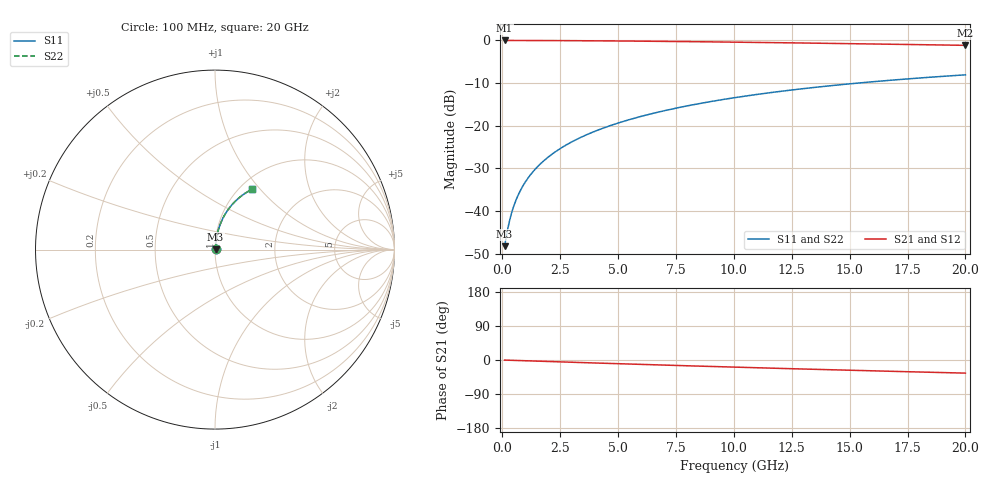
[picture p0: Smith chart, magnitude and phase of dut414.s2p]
! Touchstone file exported from HFSS 2024.1.0
!  File:  C:/UserFiles/LocalFiles/RDL_TSV_Batchsim/temp_RDL_bottom_414_1779683494.aedt
!  Generated:  12:34:18 PM May 25, 2026
!  Design:  RDL_bottom
!  Project:  temp_RDL_bottom_414_1779683494
!  Setup:  Setup1
!  Solution:  Sweep
! Variables:
!  dtsv = 10.80580581um
!  hbump = 3um
!  htsv = 89.86um
!  ldown = 435.25um
!  lrdl = 100um
!  p = 40
!  p1 = 48.55um
!  rhole = 1um
!  t = 450um
!  tdown = 3.67um
!  trdl = 3.915915916um
!  wdown = 13.83um
!  wrdl = 20um
# GHz S MA R 50.000000
! Terminal data exported
! Port[1] = RDL1_T1
! Port[2] = RDL1_T2
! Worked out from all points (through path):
!   200 points, 100 MHz to 20 GHz, reference 50 ohm
!   highest |S21| = -0.03 dB at 100 MHz (marker M1); lowest = -1.2 dB at 20 GHz (marker M2)
!   group delay of S21, straight-line fit = 4.8 ps
!   lowest |S11| = -48.2 dB at 100 MHz (marker M3), VSWR 1.01, Z = 50.3 + j0.226 ohm
!   |S11| at or under -10 dB: start of sweep to 15.39 GHz
!   |S22| runs from -48.2 to -8.1 dB; largest |S21 - S12| = 3.6e-15
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0.1  0.003869 35.4  0.9968 -0.2  0.9968 -0.2  0.003869 35.4
! Gamma 0 0 0 0
! Port Impedance 50 0 50 0
0.2  0.005505 54.2  0.9968 -0.4  0.9968 -0.4  0.005505 54.2
0.3  0.007436 63.5  0.9967 -0.6  0.9967 -0.6  0.007436 63.5
0.4  0.009461 68.8  0.9966 -0.8  0.9966 -0.8  0.009461 68.8
0.5  0.01152 72.1  0.9965 -1.0  0.9965 -1.0  0.01152 72.1
0.6  0.01359 74.4  0.9963 -1.2  0.9963 -1.2  0.01359 74.4
0.8  0.01777 77.4  0.9961 -1.6  0.9961 -1.6  0.01777 77.4
1.1  0.02408 79.8  0.9957 -2.2  0.9957 -2.2  0.02408 79.8
1.5  0.03256 81.4  0.9951 -3.0  0.9951 -3.0  0.03256 81.4
1.8  0.03894 82.0  0.9945 -3.6  0.9945 -3.6  0.03894 82.0
2.1  0.04533 82.3  0.9939 -4.2  0.9939 -4.2  0.04533 82.3
2.7  0.05814 82.4  0.9923 -5.3  0.9923 -5.3  0.05814 82.4
3.5  0.07525 82.0  0.9896 -6.9  0.9896 -6.9  0.07524 82.0
4.2  0.09021 81.4  0.9869 -8.2  0.9869 -8.2  0.09021 81.4
5  0.1073 80.5  0.9832 -9.8  0.9832 -9.8  0.1073 80.5
5.9  0.1265 79.4  0.9786 -11.5  0.9786 -11.5  0.1265 79.4
6.8  0.1455 78.2  0.9736 -13.1  0.9736 -13.1  0.1455 78.2
8.3  0.1771 76.1  0.9643 -15.8  0.9643 -15.8  0.177 76.1
10.1  0.2141 73.4  0.9521 -19.0  0.9521 -19.0  0.2141 73.4
13.4  0.2793 68.3  0.9275 -24.5  0.9275 -24.5  0.2792 68.3
16.7  0.3395 63.3  0.9011 -29.7  0.9011 -29.7  0.3395 63.3
20  0.3941 58.4  0.8737 -34.6  0.8737 -34.6  0.3941 58.4
